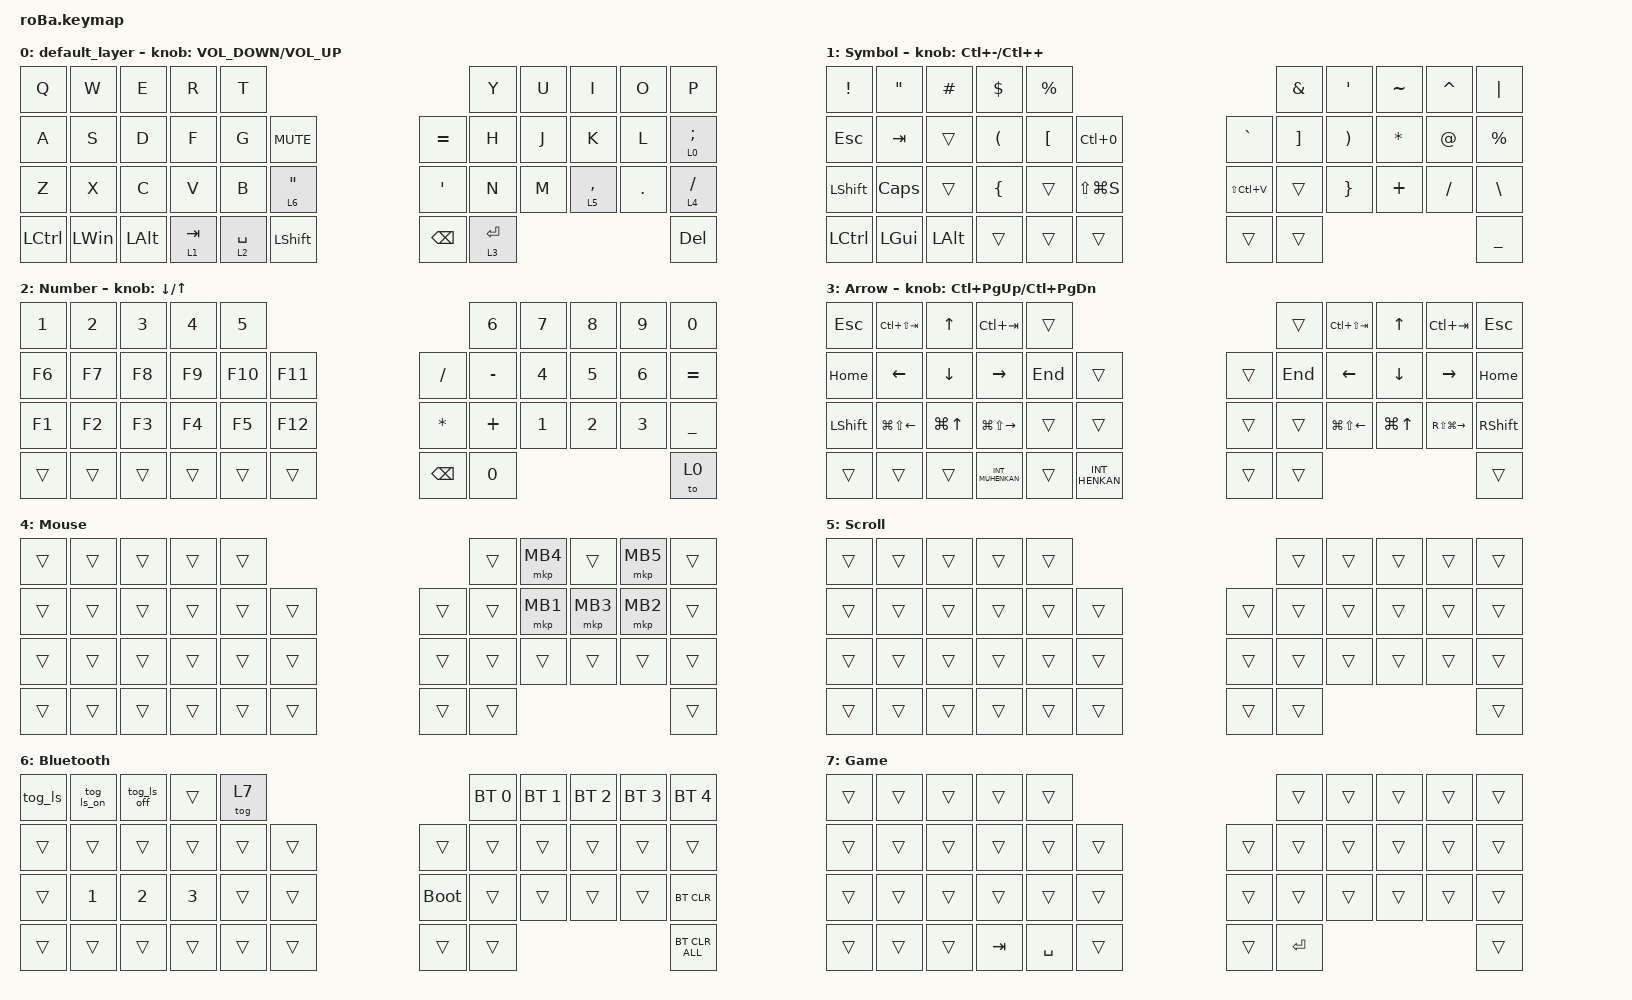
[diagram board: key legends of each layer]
#include <input/processors.dtsi>
#include <behaviors.dtsi>
#include <dt-bindings/zmk/bt.h>
#include <dt-bindings/zmk/keys.h>
#include <dt-bindings/zmk/pointing.h>

// Layout Shift Overlay - Replaces &kp behavior with custom implementation
// This file should be included in keyboard config to override &kp behavior

#include "layout_shift.dtsi"

/ {
    behaviors {
        // Keep the original key_press behavior for ZMK core components

        original_key_press: original_key_press {
            compatible = "zmk,behavior-key-press";
            #binding-cells = <1>;
            label = "KEY_PRESS";
        };

        // Override the existing &kp behavior to use our custom implementation

        kp: key_press {
            compatible = "zmk,behavior-layout-shift-key-press";
            #binding-cells = <1>;
            label = "LAYOUT_SHIFT_KEY_PRESS";
        };
    };
};

// OS設定を日本語キーボードのまま使用するための変換定義

#define JP_HANZEN       GRAVE             // 半角/全角

&mt {
    flavor = "balanced";
    quick-tap-ms = <0>;
};

&mkp_input_listener { input-processors = <&zip_temp_layer 4 1500>; };

&trackball {
    scroll-layers = <5>;

    arrows {
        layers = <3>;
        bindings =
            <&kp RIGHT_ARROW>,
            <&kp LEFT_ARROW>,
            <&kp UP_ARROW>,
            <&kp DOWN_ARROW>;

        tick = <10>;
        wait-ms = <5>;
        tap-ms = <5>;
    };
};

/ {
    combos {
        compatible = "zmk,combos";

        japanese {
            bindings = <&kp LANG1>;
            key-positions = <1 0>;
        };

        l-shift {
            bindings = <&kp LEFT_SHIFT>;
            key-positions = <22 23>;
        };

        eng {
            bindings = <&kp LANG2>;
            key-positions = <1 2>;
        };

        dash {
            bindings = <&kp MINUS>;
            key-positions = <19 20>;
        };

        r-shift {
            bindings = <&kp RIGHT_SHIFT>;
            key-positions = <32 33>;
        };

        capslock {
            bindings = <&kp LS(CAPSLOCK)>;
            key-positions = <10 11>;
        };
    };

    macros {
        to_layer_0: to_layer_0 {
            compatible = "zmk,behavior-macro-one-param";
            #binding-cells = <1>;
            bindings = <&to 0 &macro_param_1to1 &kp MACRO_PLACEHOLDER>;
            label = "TO_LAYER_0";
        };
    };

    behaviors {
        lt_to_layer_0: lt_to_layer_0 {
            compatible = "zmk,behavior-hold-tap";
            label = "LAYER_TAP_TO_0";
            bindings = <&mo>, <&to_layer_0>;

            #binding-cells = <2>;
            tapping-term-ms = <200>;
        };
    };

    keymap {
        compatible = "zmk,keymap";

        default_layer {
            bindings = <
&kp Q      &kp W         &kp E         &kp R                 &kp T                                                           &kp Y        &kp U  &kp I        &kp O    &kp P
&kp A      &kp S         &kp D         &kp F                 &kp G        &kp C_MUTE                          &kp EQUAL      &kp H        &kp J  &kp K        &kp L    &lt 0 SEMICOLON
&kp Z      &kp X         &kp C         &kp V                 &kp B        &lt_to_layer_0 6 DOUBLE_QUOTES      &kp APOS       &kp N        &kp M  &lt 5 COMMA  &kp DOT  &lt 4 SLASH
&kp LCTRL  &kp LEFT_WIN  &kp LEFT_ALT  &lt_to_layer_0 1 TAB  &lt 2 SPACE  &kp LEFT_SHIFT                      &kp BACKSPACE  &lt 3 ENTER                               &kp DEL
            >;

            sensor-bindings = <&inc_dec_kp C_VOLUME_DOWN C_VOLUME_UP>;
        };

        Symbol {
            bindings = <
&kp EXCL   &kp DOUBLE_QUOTES  &kp POUND  &kp DOLLAR            &kp PERCENT                                            &kp AMPERSAND      &kp APOSTROPHE         &kp TILDE  &kp CARET  &kp PIPE
&kp ESC    &kp TAB            &trans     &kp LEFT_PARENTHESIS  &kp LEFT_BRACKET  &kp LC(NUMBER_0)      &kp GRAVE      &kp RIGHT_BRACKET  &kp RIGHT_PARENTHESIS  &kp ASTRK  &kp AT     &kp PERCENT
&kp LSHFT  &kp CAPS           &trans     &kp LEFT_BRACE        &trans            &kp LS(LG(S))         &kp LS(LC(V))  &trans             &kp RIGHT_BRACE        &kp PLUS   &kp FSLH   &kp BACKSLASH
&kp LCTRL  &kp LGUI           &kp LALT   &trans                &trans            &trans                &trans         &trans                                                          &kp UNDER
            >;

            sensor-bindings = <&inc_dec_kp LC(MINUS) LC(PLUS)>;
        };

        Number {
            bindings = <
&kp N1  &kp N2  &kp N3  &kp N4  &kp N5                          &kp N6     &kp N7  &kp N8  &kp N9  &kp N0
&kp F6  &kp F7  &kp F8  &kp F9  &kp F10  &kp F11      &kp FSLH  &kp MINUS  &kp N4  &kp N5  &kp N6  &kp EQUAL
&kp F1  &kp F2  &kp F3  &kp F4  &kp F5   &kp F12      &kp STAR  &kp PLUS   &kp N1  &kp N2  &kp N3  &kp UNDERSCORE
&trans  &trans  &trans  &trans  &trans   &trans       &kp BSPC  &kp N0                             &to 0
            >;

            sensor-bindings = <&inc_dec_kp DOWN_ARROW UP_ARROW>;
        };

        Arrow {
            bindings = <
&kp ESCAPE      &kp LC(LS(TAB))         &kp UP_ARROW      &kp LC(TAB)              &trans                               &trans   &kp LC(LS(TAB))   &kp UP            &kp LC(TAB)        &kp ESC
&kp HOME        &kp LEFT_ARROW          &kp DOWN_ARROW    &kp RIGHT_ARROW          &kp END  &trans              &trans  &kp END  &kp LEFT          &kp DOWN          &kp RIGHT          &kp HOME
&kp LEFT_SHIFT  &kp LG(LS(LEFT_ARROW))  &kp LG(UP_ARROW)  &kp LG(LS(RIGHT_ARROW))  &trans   &trans              &trans  &trans   &kp LG(LS(LEFT))  &kp LG(UP_ARROW)  &kp RS(LG(RIGHT))  &kp RSHFT
&trans          &trans                  &trans            &kp INT_MUHENKAN         &trans   &kp INT_HENKAN      &trans  &trans                                                          &trans
            >;

            sensor-bindings = <&inc_dec_kp LC(PAGE_UP) LC(PAGE_DOWN)>;
        };

        Mouse {
            bindings = <
&trans  &trans  &trans  &trans  &trans                      &trans  &mkp MB4  &trans    &mkp MB5  &trans
&trans  &trans  &trans  &trans  &trans  &trans      &trans  &trans  &mkp MB1  &mkp MB3  &mkp MB2  &trans
&trans  &trans  &trans  &trans  &trans  &trans      &trans  &trans  &trans    &trans    &trans    &trans
&trans  &trans  &trans  &trans  &trans  &trans      &trans  &trans                                &trans
            >;
        };

        Scroll {
            bindings = <
&trans  &trans  &trans  &trans  &trans                      &trans  &trans  &trans  &trans  &trans
&trans  &trans  &trans  &trans  &trans  &trans      &trans  &trans  &trans  &trans  &trans  &trans
&trans  &trans  &trans  &trans  &trans  &trans      &trans  &trans  &trans  &trans  &trans  &trans
&trans  &trans  &trans  &trans  &trans  &trans      &trans  &trans                          &trans
            >;
        };

        Bluetooth {
            bindings = <
&tog_ls  &tog_ls_on    &tog_ls_off   &trans        &tog 7                           &bt BT_SEL 0  &bt BT_SEL 1  &bt BT_SEL 2  &bt BT_SEL 3  &bt BT_SEL 4
&trans   &trans        &trans        &trans        &trans  &trans      &trans       &trans        &trans        &trans        &trans        &trans
&trans   &kp NUMBER_1  &kp NUMBER_2  &kp NUMBER_3  &trans  &trans      &bootloader  &trans        &trans        &trans        &trans        &bt BT_CLR
&trans   &trans        &trans        &trans        &trans  &trans      &trans       &trans                                                  &bt BT_CLR_ALL
            >;
        };

        // ゲーム用レイヤー: Space/Tab/Enter をレイヤータップなしの素のキーにする
        // ON/OFF: 「"」キー長押し(レイヤー6) + T の位置 (&tog 7)

        Game {
            bindings = <
&trans  &trans  &trans  &trans   &trans                          &trans  &trans     &trans  &trans  &trans
&trans  &trans  &trans  &trans   &trans     &trans      &trans  &trans  &trans     &trans  &trans  &trans
&trans  &trans  &trans  &trans   &trans     &trans      &trans  &trans  &trans     &trans  &trans  &trans
&trans  &trans  &trans  &kp TAB  &kp SPACE  &trans      &trans  &kp ENTER                          &trans
            >;
        };
    };
};
